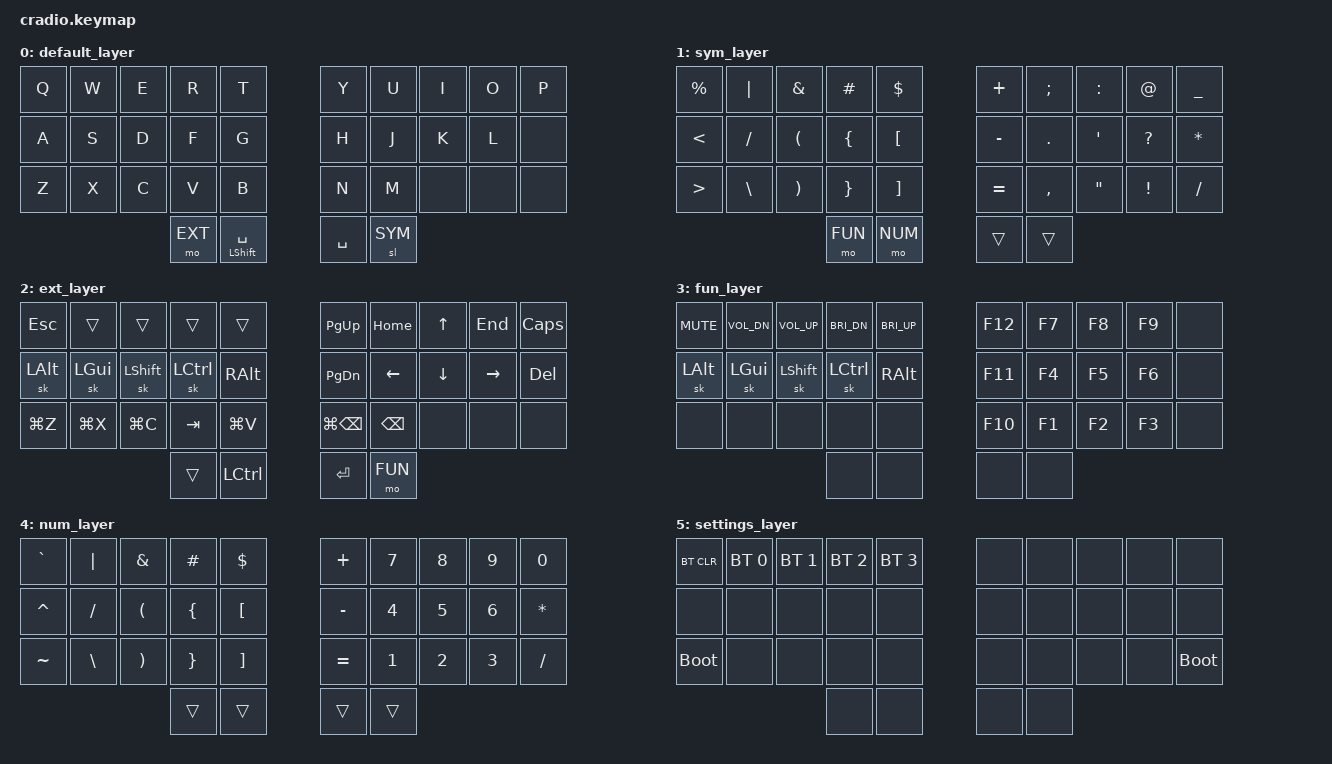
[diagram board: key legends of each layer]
/*
 * Copyright (c) 2020 The ZMK Contributors
 *
 * SPDX-License-Identifier: MIT
 */

#include <behaviors.dtsi>
#include <dt-bindings/zmk/keys.h>
#include <dt-bindings/zmk/bt.h>

#define BASE 0
#define SYM 1
#define EXT 2
#define FUN 3
#define NUM 4
#define SETTINGS 5

&sk {
    ignore-modifiers;
};

/ {
    combos {
        compatible = "zmk,combos";

        // internal-left & external-right thumb keys
        combo_num {
            timeout-ms = <200>;
            key-positions = <31 33>;
            bindings = <&mo NUM>;
        };

        // both left thumb keys
        combo_settings {
            timeout-ms = <300>;
            key-positions = <30 31>;
            bindings = <&mo SETTINGS>;
        };
    };

    keymap {
        compatible = "zmk,keymap";

        default_layer {
            bindings = <
                &kp Q &kp W &kp E &kp R   &kp T                   &kp Y     &kp U   &kp I &kp O &kp P
                &kp A &kp S &kp D &kp F   &kp G                   &kp H     &kp J   &kp K &kp L &none
                &kp Z &kp X &kp C &kp V   &kp B                   &kp N     &kp M   &none &none &none
                                  &mo EXT &mt LSHIFT SPACE        &kp SPACE &sl SYM
            >;
        };

        sym_layer {
            bindings = <
                &kp PRCNT &kp PIPE &kp AMPS &kp HASH &kp DLLR        &kp PLUS  &kp SEMI  &kp COLON &kp AT    &kp UNDER
                &kp LT    &kp FSLH &kp LPAR &kp LBRC &kp LBKT        &kp MINUS &kp DOT   &kp SQT   &kp QMARK &kp STAR
                &kp GT    &kp BSLH &kp RPAR &kp RBRC &kp RBKT        &kp EQUAL &kp COMMA &kp DQT   &kp EXCL  &kp FSLH
                                            &mo FUN  &mo NUM         &trans    &trans
            >;
        };

        ext_layer {
            bindings = <
                &kp ESC   &trans    &trans     &trans    &trans           &kp PG_UP    &kp HOME &kp UP   &kp END   &kp CAPS
                &sk LALT  &sk LGUI  &sk LSHIFT &sk LCTRL &kp RALT         &kp PG_DN    &kp LEFT &kp DOWN &kp RIGHT &kp DEL
                &kp LG(Z) &kp LG(X) &kp LG(C)  &kp TAB   &kp LG(V)        &kp LG(BSPC) &kp BSPC &none    &none     &none
                                               &trans    &kp LCTRL        &kp ENTER    &mo FUN
            >;
        };

        fun_layer {
            bindings = <
                &kp K_MUTE &kp C_VOL_DN &kp C_VOL_UP &kp C_BRI_DN &kp C_BRI_UP        &kp F12 &kp F7 &kp F8 &kp F9 &none
                &sk LALT   &sk LGUI     &sk LSHIFT   &sk LCTRL    &kp RALT            &kp F11 &kp F4 &kp F5 &kp F6 &none
                &none      &none        &none        &none        &none               &kp F10 &kp F1 &kp F2 &kp F3 &none
                                                     &none        &none               &none   &none
            >;
        };

        num_layer {
            bindings = <
                &kp GRAVE &kp PIPE &kp AMPS &kp HASH &kp DLLR        &kp PLUS  &kp N7 &kp N8 &kp N9 &kp N0
                &kp CARET &kp FSLH &kp LPAR &kp LBRC &kp LBKT        &kp MINUS &kp N4 &kp N5 &kp N6 &kp STAR
                &kp TILDE &kp BSLH &kp RPAR &kp RBRC &kp RBKT        &kp EQUAL &kp N1 &kp N2 &kp N3 &kp FSLH
                                            &trans   &trans          &trans    &trans
            >;
        };

        settings_layer {
            bindings = <
                &bt BT_CLR  &bt BT_SEL 0 &bt BT_SEL 1 &bt BT_SEL 2 &bt BT_SEL 3         &none &none &none &none &none
                &none       &none        &none        &none        &none                &none &none &none &none &none
                &bootloader &none        &none        &none        &none                &none &none &none &none &bootloader
                                                      &none        &none                &none &none
            >;
        };

    };
};
